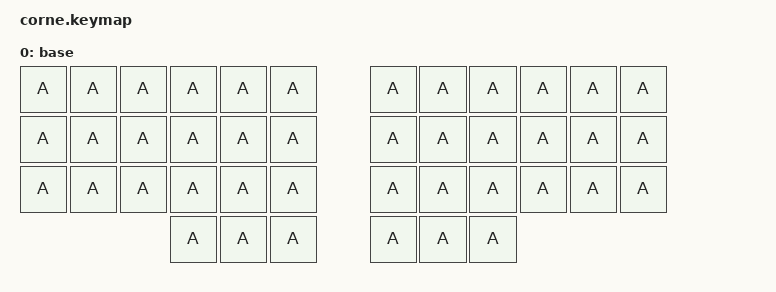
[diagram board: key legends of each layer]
/*
 * Copyright (c) 2020 The ZMK Contributors
 *
 * SPDX-License-Identifier: MIT
 */

#include <behaviors.dtsi>
#include <dt-bindings/zmk/keys.h>

// dt-formatter: indent = "  "
// dt-formatter: reindentMultilineIntegerCells = "dedent"

/ {
  behaviors {
    llayers: llayers {
      compatible = "zmk,behavior-tap-dance";
      label = "LLAYERS";
      #binding-cells = <0>;
      bindings = <&mo 0>, <&mo 0>, <&tog 0>;
    };
    rlayers: rlayers {
      compatible = "zmk,behavior-tap-dance";
      label = "RLAYERS";
      #binding-cells = <0>;
      bindings = <&mo 0>;
    };
    lmods: lmods {
      compatible = "zmk,behavior-tap-dance";
      label = "LMODS";
      #binding-cells = <0>;
      bindings = <&sk LCTRL>, <&sk LEFT_ALT>;
    };
    rmods: rmods {
      compatible = "zmk,behavior-tap-dance";
      label = "RMODS";
      #binding-cells = <0>;
      bindings = <&sk RCTRL>, <&sk LEFT_META>;
    };
  };

  combos {
    compatible = "zmk,combos";

    capslock {
      bindings = <&kp CAPS>;
      key-positions = <24 35>;
    };

    lctrl {
      bindings = <&sk LCTRL>;
      key-positions = <25 26>;
    };

    lmeta {
      bindings = <&sk LEFT_META>;
      key-positions = <26 27>;
    };

    lalt {
      bindings = <&sk LALT>;
      key-positions = <27 28>;
    };

    rctrl {
      bindings = <&sk RCTRL>;
      key-positions = <33 34>;
    };

    rmeta {
      bindings = <&sk RIGHT_META>;
      key-positions = <33 32>;
    };

    ralt {
      bindings = <&sk RIGHT_ALT>;
      key-positions = <32 31>;
    };

    l5 {
      bindings = <&sl 0>;
      key-positions = <36 40 41 37>;
    };
  };

  macros {
  };

  keymap {
    compatible = "zmk,keymap";

    base {
      bindings = <
&kp A  &kp A  &kp A  &kp A  &kp A  &kp A    &kp A  &kp A  &kp A  &kp A  &kp A  &kp A
&kp A  &kp A  &kp A  &kp A  &kp A  &kp A    &kp A  &kp A  &kp A  &kp A  &kp A  &kp A
&kp A  &kp A  &kp A  &kp A  &kp A  &kp A    &kp A  &kp A  &kp A  &kp A  &kp A  &kp A
                     &kp A  &kp A  &kp A    &kp A  &kp A  &kp A
      >;
    };
  };
};
